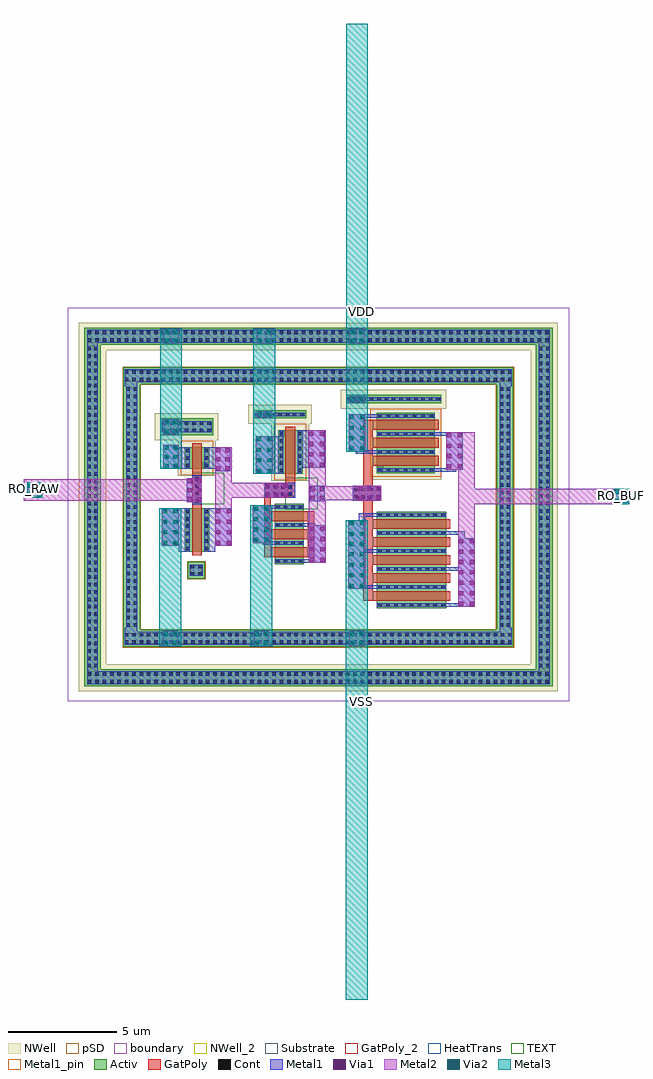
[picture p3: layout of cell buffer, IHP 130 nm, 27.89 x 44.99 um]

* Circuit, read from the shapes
.subckt buffer RO_BUF RO_RAW VDD VSS
XM1 n1 RO_RAW VSS VSS sg13_lv_nmos w=2u l=0.45u
XM2 VSS n1 n2 VSS sg13_lv_nmos w=1.33u l=0.45u m=3
XM3 VSS n2 RO_BUF VSS sg13_lv_nmos w=3.2u l=0.45u m=5
XM4 n1 RO_RAW VDD VDD sg13_lv_pmos w=1u l=0.45u
XM5 n2 n1 VDD VDD sg13_lv_pmos w=2u l=0.45u
XM6 VDD n2 RO_BUF VDD sg13_lv_pmos w=2.665u l=0.45u m=3
.ends

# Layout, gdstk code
from math import pi, radians
import gdstk
lib = gdstk.Library(unit=1e-6, precision=1e-09)
def R(c, l, rs):  # rectangles x0, y0, x1, y1
    for r in rs: c.add(gdstk.rectangle(r[:2], r[2:], *l))
def A(c, l, x, y, w, h, nx, ny, dx, dy):  # array of equal rectangles
    R(c, l, [(x+i*dx, y+j*dy, x+i*dx+w, y+j*dy+h) for i in range(nx) for j in range(ny)])
def P(c, l, *ps):  # polygons
    for p in ps: c.add(gdstk.Polygon(p, *l))
Activ = (1, 0)
GatPoly = (5, 0)
GatPoly_2 = (5, 2)
Cont = (6, 0)
Metal1 = (8, 0)
Metal1_pin = (8, 2)
Metal2 = (10, 0)
pSD = (14, 0)
Via1 = (19, 0)
Via2 = (29, 0)
Metal3 = (30, 0)
NWell = (31, 0)
NWell_2 = (31, 2)
Substrate = (40, 0)
HeatTrans = (51, 0)
TEXT = (63, 0)
boundary = (189, 4)

nmos_10 = lib.new_cell('nmos$10')
A(nmos_10, Activ, 0, 0, 0.3, 0.3, 4, 1, 0.83, 0)
R(nmos_10, Activ, [(0,0,2.79,1.33)])
A(nmos_10, GatPoly, 0.34, -0.18, 0.45, 1.69, 3, 1, 0.83, 0)
R(nmos_10, GatPoly_2, [(0.34,-0.18,0.79,1.51)])
A(nmos_10, Cont, 0.07, 0.07, 0.16, 0.16, 4, 2, 0.83, 0.34)
A(nmos_10, Cont, 0.07, 0.755, 0.16, 0.16, 4, 2, 0.83, 0.345)
A(nmos_10, Metal1, 0.07, 0, 0.16, 1.33, 4, 1, 0.83, 0)
R(nmos_10, Metal1_pin, [(0.07,0,0.23,1.33), (0.9,0,1.06,1.33)])
A(nmos_10, HeatTrans, 0.34, -0.18, 0.45, 1.69, 3, 1, 0.83, 0)
nmos_10.add(gdstk.Label('nmos', (0.565,0.665), layer=63, texttype=0))
nmos_10.add(gdstk.Label('nmos', (0.565,0.665), layer=51, texttype=0))
nmos_10.add(gdstk.Label('nmos', (1.395,0.665), layer=51, texttype=0))
nmos_10.add(gdstk.Label('nmos', (2.225,0.665), layer=51, texttype=0))

pmos_10 = lib.new_cell('pmos$10')
R(pmos_10, Activ, [(0,0,0.3,0.3), (0,0,1.13,2), (0.83,0,1.13,0.3)])
R(pmos_10, GatPoly, [(0.34,-0.18,0.79,2.18), (0.34,-0.18,0.79,2.18)])
A(pmos_10, Cont, 0.07, 0.07, 0.16, 0.16, 1, 6, 0, 0.34)
A(pmos_10, Cont, 0.9, 0.07, 0.16, 0.16, 1, 6, 0, 0.34)
R(pmos_10, Metal1, [(0.07,0,0.23,2), (0.07,0,0.23,2), (0.9,0,1.06,2), (0.9,0,1.06,2)])
R(pmos_10, pSD, [(-0.18,-0.3,1.31,2.3)])
R(pmos_10, NWell, [(-0.31,-0.31,1.44,2.31)])
R(pmos_10, Substrate, [(0.83,0,1.13,0.3)])
R(pmos_10, HeatTrans, [(0.34,-0.18,0.79,2.18)])
pmos_10.add(gdstk.Label('pmos', (0.565,1), layer=63, texttype=0))
pmos_10.add(gdstk.Label('pmos', (0.565,1), layer=51, texttype=0))

via_stack_17 = lib.new_cell('via_stack$17')
R(via_stack_17, Metal1, [(-0.385,-0.865,0.385,0.865)])
R(via_stack_17, Metal2, [(-0.385,-0.865,0.385,0.865)])
A(via_stack_17, Via1, -0.335, -0.815, 0.19, 0.19, 1, 4, 0, 0.48)
A(via_stack_17, Via1, 0.145, -0.815, 0.19, 0.19, 1, 4, 0, 0.48)

via_stack_20 = lib.new_cell('via_stack$20')
R(via_stack_20, Metal1, [(-0.385,-0.865,0.385,0.865)])
R(via_stack_20, Metal2, [(-0.385,-0.865,0.385,0.865)])
A(via_stack_20, Via1, -0.335, -0.815, 0.19, 0.19, 1, 4, 0, 0.48)
A(via_stack_20, Via1, 0.145, -0.815, 0.19, 0.19, 1, 4, 0, 0.48)
A(via_stack_20, Via2, -0.335, -0.815, 0.19, 0.19, 1, 4, 0, 0.48)
A(via_stack_20, Via2, 0.145, -0.815, 0.19, 0.19, 1, 4, 0, 0.48)
R(via_stack_20, Metal3, [(-0.385,-0.865,0.385,0.865)])

cont = lib.new_cell('cont')
R(cont, Cont, [(0,0,0.16,0.16)])

buf_2 = lib.new_cell('buf_2')
R(buf_2, GatPoly, [(0.115,0.34,0.415,2.45), (2.105,0.34,2.405,2.45), (0.115,2.45,0.415,3.09), (0.115,3.09,1.095,3.73), (1.095,3.09,1.535,4)])
R(buf_2, Metal1, [(-0.28,4.18,0.975,5.91), (1.645,4.45,2.9,6.18)])
P(buf_2, Metal1, [(0.05,0.9),(0.05,2.72),(0.595,2.72),(0.595,2.56),(0.35,2.56),(0.35,1.06),(0.595,1.06),(0.595,0.9)],
  [(1.925,0.07),(1.925,0.23),(2.17,0.23),(2.17,1.73),(1.925,1.73),(1.925,1.89),(2.47,1.89),(2.47,0.07)])
R(buf_2, Metal2, [(2.17,0.07,2.94,6.18)])
R(buf_2, TEXT, [(1.085,2.545,2.57,4)])
buf_2.add(gdstk.Reference(nmos_10, (0.595,2.79), rotation=3*pi/2))
buf_2.add(gdstk.Reference(pmos_10, (1.875,6.18), rotation=pi))
buf_2.add(gdstk.Reference(via_stack_17, (2.515,5.315), rotation=pi))
buf_2.add(gdstk.Reference(via_stack_17, (2.555,0.935), rotation=pi))
buf_2.add(gdstk.Reference(via_stack_20, (0.105,5.045), rotation=pi))
buf_2.add(gdstk.Reference(via_stack_20, (-0.035,1.855), rotation=pi))
r = gdstk.Reference(cont, (0.185,3.66), rotation=3*pi/2); r.repetition = gdstk.Repetition(2, 4, v1=(0,-0.34), v2=(0.34,0)); buf_2.add(r)

pmos_13 = lib.new_cell('pmos$13')
A(pmos_13, Activ, 0, 0, 0.3, 0.3, 4, 1, 0.83, 0)
R(pmos_13, Activ, [(0,0,2.79,2.665)])
A(pmos_13, GatPoly, 0.34, -0.18, 0.45, 3.025, 3, 1, 0.83, 0)
R(pmos_13, GatPoly, [(0.34,-0.18,0.79,2.845)])
A(pmos_13, Cont, 0.07, 0.07, 0.16, 0.16, 4, 2, 0.83, 0.39)
A(pmos_13, Cont, 0.07, 0.855, 0.16, 0.16, 4, 5, 0.83, 0.395)
A(pmos_13, Metal1, 0.9, 0, 0.16, 2.665, 3, 1, 0.83, 0)
R(pmos_13, Metal1, [(0.07,0,0.23,2.665), (0.07,0,0.23,2.665), (0.9,0,1.06,2.665)])
R(pmos_13, pSD, [(-0.18,-0.3,2.97,2.965)])
R(pmos_13, NWell, [(-0.31,-0.31,3.1,2.975)])
R(pmos_13, Substrate, [(2.49,0,2.79,0.3)])
A(pmos_13, HeatTrans, 0.34, -0.18, 0.45, 3.025, 3, 1, 0.83, 0)
pmos_13.add(gdstk.Label('pmos', (0.565,1.333), layer=63, texttype=0))
pmos_13.add(gdstk.Label('pmos', (0.565,1.333), layer=51, texttype=0))
pmos_13.add(gdstk.Label('pmos', (1.395,1.333), layer=51, texttype=0))
pmos_13.add(gdstk.Label('pmos', (2.225,1.333), layer=51, texttype=0))

nmos_9 = lib.new_cell('nmos$9')
A(nmos_9, Activ, 0, 0, 0.3, 0.3, 6, 1, 0.83, 0)
R(nmos_9, Activ, [(0,0,4.45,3.2)])
A(nmos_9, GatPoly, 0.34, -0.18, 0.45, 3.56, 5, 1, 0.83, 0)
R(nmos_9, GatPoly_2, [(0.34,-0.18,0.79,3.38)])
A(nmos_9, Cont, 0.07, 0.07, 0.16, 0.16, 6, 2, 0.83, 0.36)
A(nmos_9, Cont, 0.07, 0.795, 0.16, 0.16, 6, 2, 0.83, 0.36)
A(nmos_9, Cont, 0.07, 1.52, 0.16, 0.16, 6, 2, 0.83, 0.36)
A(nmos_9, Cont, 0.07, 2.245, 0.16, 0.16, 6, 2, 0.83, 0.36)
A(nmos_9, Cont, 0.07, 2.97, 0.16, 0.16, 6, 1, 0.83, 0)
A(nmos_9, Metal1, 0.07, 0, 0.16, 3.2, 6, 1, 0.83, 0)
R(nmos_9, Metal1_pin, [(0.07,0,0.23,3.2), (0.9,0,1.06,3.2)])
A(nmos_9, HeatTrans, 0.34, -0.18, 0.45, 3.56, 5, 1, 0.83, 0)
nmos_9.add(gdstk.Label('nmos', (0.565,1.6), layer=63, texttype=0))
nmos_9.add(gdstk.Label('nmos', (0.565,1.6), layer=51, texttype=0))
nmos_9.add(gdstk.Label('nmos', (1.395,1.6), layer=51, texttype=0))
nmos_9.add(gdstk.Label('nmos', (2.225,1.6), layer=51, texttype=0))
nmos_9.add(gdstk.Label('nmos', (3.055,1.6), layer=51, texttype=0))
nmos_9.add(gdstk.Label('nmos', (3.885,1.6), layer=51, texttype=0))

via_stack_21 = lib.new_cell('via_stack$21')
R(via_stack_21, Metal1, [(-0.385,-1.585,0.385,1.585)])
R(via_stack_21, Metal2, [(-0.385,-1.585,0.385,1.585)])
A(via_stack_21, Via1, -0.335, -1.535, 0.19, 0.19, 1, 7, 0, 0.48)
A(via_stack_21, Via1, 0.145, -1.535, 0.19, 0.19, 1, 7, 0, 0.48)
A(via_stack_21, Via2, -0.335, -1.535, 0.19, 0.19, 1, 7, 0, 0.48)
A(via_stack_21, Via2, 0.145, -1.535, 0.19, 0.19, 1, 7, 0, 0.48)
R(via_stack_21, Metal3, [(-0.385,-1.585,0.385,1.585)])

via_stack_18 = lib.new_cell('via_stack$18')
R(via_stack_18, Metal1, [(-0.385,-1.585,0.385,1.585)])
R(via_stack_18, Metal2, [(-0.385,-1.585,0.385,1.585)])
A(via_stack_18, Via1, -0.335, -1.535, 0.19, 0.19, 1, 7, 0, 0.48)
A(via_stack_18, Via1, 0.145, -1.535, 0.19, 0.19, 1, 7, 0, 0.48)

buf_3 = lib.new_cell('buf_3')
R(buf_3, GatPoly, [(0.46,0.365,0.91,8.71), (-0.02,5.005,1.3,5.645)])
R(buf_3, Metal1, [(3.755,6.33,4.29,6.49), (4.29,6.33,4.745,8.15), (0.105,7.16,0.555,8.98), (0.555,7.16,1.09,7.32), (3.755,7.99,4.29,8.15), (0.555,8.82,1.09,8.98)])
P(buf_3, Metal1, [(4.29,0.095),(4.29,0.255),(4.835,0.255),(4.835,1.755),(4.29,1.755),(4.29,1.915),(4.835,1.915),(4.835,3.415),(4.29,3.415),(4.29,3.575),(5.135,3.575),(5.135,0.095)],
  [(0.245,0.925),(0.245,4.405),(1.09,4.405),(1.09,4.245),(0.545,4.245),(0.545,2.745),(1.09,2.745),(1.09,2.585),(0.545,2.585),(0.545,1.085),(1.09,1.085),(1.09,0.925)],
  [(4.29,0.095),(4.29,0.255),(4.835,0.255),(4.835,1.755),(4.29,1.755),(4.29,1.915),(4.835,1.915),(4.835,3.415),(4.29,3.415),(4.29,3.575),(5.135,3.575),(5.135,0.095)])
R(buf_3, Metal2, [(4.835,0.095,5.605,8.15)])
buf_3.add(gdstk.Reference(pmos_13, (1.09,9.05), rotation=3*pi/2))
buf_3.add(gdstk.Reference(nmos_9, (1.09,4.475), rotation=3*pi/2))
buf_3.add(gdstk.Reference(via_stack_21, (0.16,2.51), rotation=pi))
buf_3.add(gdstk.Reference(via_stack_18, (5.22,1.68), rotation=pi))
buf_3.add(gdstk.Reference(via_stack_17, (4.675,7.285), rotation=pi))
buf_3.add(gdstk.Reference(via_stack_20, (0.17,8.115), rotation=pi))
r = gdstk.Reference(cont, (1.23,5.575), rotation=pi); r.repetition = gdstk.Repetition(4, 2, v1=(-0.34,0), v2=(0,-0.34)); buf_3.add(r)

via_stack_10 = lib.new_cell('via_stack$10')
R(via_stack_10, Metal1, [(-0.35,-0.555,0.35,0.555)])
R(via_stack_10, Metal2, [(-0.35,-0.555,0.35,0.555)])
A(via_stack_10, Via1, -0.3, -0.505, 0.19, 0.19, 1, 3, 0, 0.41)
A(via_stack_10, Via1, 0.11, -0.505, 0.19, 0.19, 1, 3, 0, 0.41)

pmos_11 = lib.new_cell('pmos$11')
R(pmos_11, Activ, [(0,0,0.3,0.3), (0,0,1.13,1), (0.83,0,1.13,0.3)])
R(pmos_11, GatPoly, [(0.34,-0.18,0.79,1.18), (0.34,-0.18,0.79,1.18)])
A(pmos_11, Cont, 0.07, 0.07, 0.16, 0.16, 1, 3, 0, 0.35)
A(pmos_11, Cont, 0.9, 0.07, 0.16, 0.16, 1, 3, 0, 0.35)
R(pmos_11, Metal1, [(0.07,0,0.23,1), (0.07,0,0.23,1), (0.9,0,1.06,1), (0.9,0,1.06,1)])
R(pmos_11, pSD, [(-0.18,-0.3,1.31,1.3)])
R(pmos_11, NWell, [(-0.31,-0.31,1.44,1.31)])
R(pmos_11, Substrate, [(0.83,0,1.13,0.3)])
R(pmos_11, HeatTrans, [(0.34,-0.18,0.79,1.18)])
pmos_11.add(gdstk.Label('pmos', (0.565,0.5), layer=63, texttype=0))
pmos_11.add(gdstk.Label('pmos', (0.565,0.5), layer=51, texttype=0))

nmos_4 = lib.new_cell('nmos$4')
R(nmos_4, Activ, [(0,0,0.3,0.3), (0,0,1.13,2), (0.83,0,1.13,0.3)])
R(nmos_4, GatPoly, [(0.34,-0.18,0.79,2.18)])
R(nmos_4, GatPoly_2, [(0.34,-0.18,0.79,2.18)])
A(nmos_4, Cont, 0.07, 0.07, 0.16, 0.16, 1, 6, 0, 0.34)
A(nmos_4, Cont, 0.9, 0.07, 0.16, 0.16, 1, 6, 0, 0.34)
R(nmos_4, Metal1, [(0.07,0,0.23,2), (0.9,0,1.06,2)])
R(nmos_4, Metal1_pin, [(0.07,0,0.23,2), (0.9,0,1.06,2)])
R(nmos_4, HeatTrans, [(0.34,-0.18,0.79,2.18)])
nmos_4.add(gdstk.Label('nmos', (0.565,1), layer=63, texttype=0))
nmos_4.add(gdstk.Label('nmos', (0.565,1), layer=51, texttype=0))

via_stack_19 = lib.new_cell('via_stack$19')
R(via_stack_19, Metal1, [(-0.35,-0.555,0.35,0.555)])
R(via_stack_19, Metal2, [(-0.35,-0.555,0.35,0.555)])
A(via_stack_19, Via1, -0.3, -0.505, 0.19, 0.19, 1, 3, 0, 0.41)
A(via_stack_19, Via1, 0.11, -0.505, 0.19, 0.19, 1, 3, 0, 0.41)
A(via_stack_19, Via2, -0.3, -0.505, 0.19, 0.19, 1, 3, 0, 0.41)
A(via_stack_19, Via2, 0.11, -0.505, 0.19, 0.19, 1, 3, 0, 0.41)
R(via_stack_19, Metal3, [(-0.35,-0.555,0.35,0.555)])

buf_1 = lib.new_cell('buf_1')
R(buf_1, GatPoly, [(0.965,1.31,1.415,2.765)])
R(buf_1, Metal1, [(0.345,-0.87,0.695,1.13), (1.685,-0.87,2.035,1.13), (0.965,1.31,1.415,2.645), (0.345,2.945,0.695,3.945), (1.685,2.945,2.035,3.945)])
R(buf_1, Metal2, [(2.035,1.13,2.805,3.945)])
buf_1.add(gdstk.Reference(pmos_11, (0.625,2.945)))
buf_1.add(gdstk.Reference(nmos_4, (0.625,-0.87)))
r = gdstk.Reference(cont, (1.11,2.565), rotation=3*pi/2); r.repetition = gdstk.Repetition(4, 1, v1=(0,-0.34), v2=(0,0)); buf_1.add(r)
buf_1.add(gdstk.Reference(via_stack_10, (2.385,3.39), rotation=pi))
buf_1.add(gdstk.Reference(via_stack_19, (-0.005,3.5), rotation=pi))
buf_1.add(gdstk.Reference(via_stack_17, (2.42,0.265), rotation=pi))
buf_1.add(gdstk.Reference(via_stack_20, (-0.04,0.265), rotation=pi))

via_stack_16 = lib.new_cell('via_stack$16')
R(via_stack_16, Metal1, [(-0.555,-0.35,0.555,0.35)])
R(via_stack_16, Metal2, [(-0.555,-0.35,0.555,0.35)])
A(via_stack_16, Via1, -0.505, -0.3, 0.19, 0.19, 3, 2, 0.41, 0.41)

via_stack = lib.new_cell('via_stack')
R(via_stack, Metal1, [(-0.35,-0.35,0.35,0.35)])
R(via_stack, Metal2, [(-0.35,-0.35,0.35,0.35)])
R(via_stack, Via1, [(-0.3,-0.3,-0.11,-0.11), (0.11,-0.3,0.3,-0.11), (-0.3,0.11,-0.11,0.3), (0.11,0.11,0.3,0.3)])

ptap1_17 = lib.new_cell('ptap1$17')
R(ptap1_17, Activ, [(0,0,17.985,0.78)])
A(ptap1_17, Cont, 0.07, 0.14, 0.16, 0.16, 53, 2, 0.34, 0.34)
R(ptap1_17, Metal1, [(0.07,0.09,17.91,0.69), (0.07,0.14,17.91,0.64)])
R(ptap1_17, Metal1_pin, [(0.07,0.14,17.91,0.64)])
R(ptap1_17, pSD, [(-0.03,-0.03,18.015,0.81)])
R(ptap1_17, Substrate, [(0,0,17.985,0.78)])
ptap1_17.add(gdstk.Label('sub!', (8.993,0.01), layer=63, texttype=0))
ptap1_17.add(gdstk.Label('sub!', (8.993,0.01), layer=40, texttype=0))

ptap1_18 = lib.new_cell('ptap1$18')
R(ptap1_18, Activ, [(0,0,0.78,11.335)])
A(ptap1_18, Cont, 0.14, 0.145, 0.16, 0.16, 1, 33, 0, 0.34)
A(ptap1_18, Cont, 0.48, 0.145, 0.16, 0.16, 1, 33, 0, 0.34)
R(ptap1_18, Metal1, [(0.14,0.095,0.64,11.235), (0.14,0.145,0.64,11.185)])
R(ptap1_18, Metal1_pin, [(0.14,0.145,0.64,11.185)])
R(ptap1_18, pSD, [(-0.03,-0.03,0.81,11.365)])
R(ptap1_18, Substrate, [(0,0,0.78,11.335)])
ptap1_18.add(gdstk.Label('sub!', (0.39,0.01), layer=63, texttype=0))
ptap1_18.add(gdstk.Label('sub!', (0.39,0.01), layer=40, texttype=0))

buf_ptap_guard_ring = lib.new_cell('buf_ptap_guard_ring')
buf_ptap_guard_ring.add(gdstk.Reference(ptap1_17, (0,0)))
buf_ptap_guard_ring.add(gdstk.Reference(ptap1_17, (0,12.115)))
buf_ptap_guard_ring.add(gdstk.Reference(ptap1_18, (0,0.78)))
buf_ptap_guard_ring.add(gdstk.Reference(ptap1_18, (17.205,0.78)))

ntap1_21 = lib.new_cell('ntap1$21')
R(ntap1_21, Activ, [(0,0,21.605,0.78)])
A(ntap1_21, Cont, 0.18, 0.14, 0.16, 0.16, 63, 2, 0.34, 0.34)
R(ntap1_21, Metal1, [(0.18,0.09,21.42,0.69)])
R(ntap1_21, Metal1_pin, [(0.18,0.09,21.42,0.69), (0.18,0.14,21.42,0.64)])
R(ntap1_21, NWell, [(-0.24,-0.24,21.845,1.02), (0,0,21.605,0.78)])
R(ntap1_21, NWell_2, [(0,0,21.605,0.78)])
ntap1_21.add(gdstk.Label('well', (10.803,0.01), layer=63, texttype=0))
ntap1_21.add(gdstk.Label('well', (10.803,0.01), layer=31, texttype=0))

ntap1_22 = lib.new_cell('ntap1$22')
R(ntap1_22, Activ, [(0,0,0.78,14.955)])
A(ntap1_22, Cont, 0.14, 0.085, 0.16, 0.16, 1, 44, 0, 0.34)
A(ntap1_22, Cont, 0.48, 0.085, 0.16, 0.16, 1, 44, 0, 0.34)
R(ntap1_22, Metal1, [(0.14,0.035,0.64,14.915)])
R(ntap1_22, Metal1_pin, [(0.14,0.035,0.64,14.915), (0.14,0.085,0.64,14.865)])
R(ntap1_22, NWell, [(-0.24,-0.24,1.02,15.195), (0,0,0.78,14.955)])
R(ntap1_22, NWell_2, [(0,0,0.78,14.955)])
ntap1_22.add(gdstk.Label('well', (0.39,0.01), layer=63, texttype=0))
ntap1_22.add(gdstk.Label('well', (0.39,0.01), layer=31, texttype=0))

buf_ntap_guard_ring = lib.new_cell('buf_ntap_guard_ring')
buf_ntap_guard_ring.add(gdstk.Reference(ntap1_21, (0,0)))
buf_ntap_guard_ring.add(gdstk.Reference(ntap1_21, (0,15.735)))
buf_ntap_guard_ring.add(gdstk.Reference(ntap1_22, (0,0.78)))
buf_ntap_guard_ring.add(gdstk.Reference(ntap1_22, (20.825,0.78)))

via_stack_6_2 = lib.new_cell('via_stack$6$2')
R(via_stack_6_2, Metal2, [(-0.35,-0.35,0.35,0.35)])
R(via_stack_6_2, Via2, [(-0.3,-0.3,-0.11,-0.11), (0.11,-0.3,0.3,-0.11), (-0.3,0.11,-0.11,0.3), (0.11,0.11,0.3,0.3)])
R(via_stack_6_2, Metal3, [(-0.35,-0.35,0.35,0.35)])

via_stack_5_1 = lib.new_cell('via_stack$5$1')
R(via_stack_5_1, Metal1, [(-0.35,-0.35,0.35,0.35)])
R(via_stack_5_1, Metal2, [(-0.35,-0.35,0.35,0.35)])
R(via_stack_5_1, Via1, [(-0.3,-0.3,-0.11,-0.11), (0.11,-0.3,0.3,-0.11), (-0.3,0.11,-0.11,0.3), (0.11,0.11,0.3,0.3)])
R(via_stack_5_1, Via2, [(-0.3,-0.3,-0.11,-0.11), (0.11,-0.3,0.3,-0.11), (-0.3,0.11,-0.11,0.3), (0.11,0.11,0.3,0.3)])
R(via_stack_5_1, Metal3, [(-0.35,-0.35,0.35,0.35)])

ntap1_27 = lib.new_cell('ntap1$27')
R(ntap1_27, Activ, [(0,0,0.78,2.44)])
A(ntap1_27, Cont, 0.14, 0.12, 0.16, 0.16, 1, 7, 0, 0.34)
A(ntap1_27, Cont, 0.48, 0.12, 0.16, 0.16, 1, 7, 0, 0.34)
R(ntap1_27, Metal1, [(0.14,0.07,0.64,2.37)])
R(ntap1_27, Metal1_pin, [(0.14,0.07,0.64,2.37), (0.14,0.12,0.64,2.32)])
R(ntap1_27, NWell, [(-0.24,-0.24,1.02,2.68), (0,0,0.78,2.44)])
R(ntap1_27, NWell_2, [(0,0,0.78,2.44)])
ntap1_27.add(gdstk.Label('well', (0.39,0.01), layer=63, texttype=0))
ntap1_27.add(gdstk.Label('well', (0.39,0.01), layer=31, texttype=0))

ptap1_21 = lib.new_cell('ptap1$21')
R(ptap1_21, Activ, [(0,0,0.78,0.78)])
R(ptap1_21, Cont, [(0.14,0.14,0.3,0.3), (0.48,0.14,0.64,0.3), (0.14,0.48,0.3,0.64), (0.48,0.48,0.64,0.64)])
R(ptap1_21, Metal1, [(0.14,0.09,0.64,0.69), (0.14,0.14,0.64,0.64)])
R(ptap1_21, Metal1_pin, [(0.14,0.14,0.64,0.64)])
R(ptap1_21, pSD, [(-0.03,-0.03,0.81,0.81)])
R(ptap1_21, Substrate, [(0,0,0.78,0.78)])
ptap1_21.add(gdstk.Label('sub!', (0.39,0.01), layer=63, texttype=0))
ptap1_21.add(gdstk.Label('sub!', (0.39,0.01), layer=40, texttype=0))

ntap1_29 = lib.new_cell('ntap1$29')
R(ntap1_29, Activ, [(0,0,0.39,2.45)])
A(ntap1_29, Cont, 0.115, 0.125, 0.16, 0.16, 1, 7, 0, 0.34)
R(ntap1_29, Metal1, [(0.115,0.075,0.275,2.375)])
R(ntap1_29, Metal1_pin, [(0.115,0.075,0.275,2.375), (0.115,0.125,0.275,2.325)])
R(ntap1_29, NWell, [(-0.24,-0.24,0.63,2.69), (0,0,0.39,2.45)])
R(ntap1_29, NWell_2, [(0,0,0.39,2.45)])
ntap1_29.add(gdstk.Label('well', (0.195,0.01), layer=63, texttype=0))
ntap1_29.add(gdstk.Label('well', (0.195,0.01), layer=31, texttype=0))

ntap1_30 = lib.new_cell('ntap1$30')
R(ntap1_30, Activ, [(0,0,0.39,4.385)])
A(ntap1_30, Cont, 0.115, 0.07, 0.16, 0.16, 1, 13, 0, 0.34)
R(ntap1_30, Metal1, [(0.115,0.02,0.275,4.36)])
R(ntap1_30, Metal1_pin, [(0.115,0.02,0.275,4.36), (0.115,0.07,0.275,4.31)])
R(ntap1_30, NWell, [(-0.24,-0.24,0.63,4.625), (0,0,0.39,4.385)])
R(ntap1_30, NWell_2, [(0,0,0.39,4.385)])
ntap1_30.add(gdstk.Label('well', (0.195,0.01), layer=63, texttype=0))
ntap1_30.add(gdstk.Label('well', (0.195,0.01), layer=31, texttype=0))

via_stack_38 = lib.new_cell('via_stack$38')
R(via_stack_38, Metal1, [(-0.145,-0.35,0.145,0.35)])
R(via_stack_38, Metal2, [(-0.145,-0.35,0.145,0.35)])
R(via_stack_38, Via1, [(-0.095,-0.3,0.095,-0.11), (-0.095,0.11,0.095,0.3)])
R(via_stack_38, Via2, [(-0.095,-0.3,0.095,-0.11), (-0.095,0.11,0.095,0.3)])
R(via_stack_38, Metal3, [(-0.145,-0.35,0.145,0.35)])

buffer = lib.new_cell('buffer')
R(buffer, Metal1, [(-7.3,-8.315,-6.8,-7.59), (13.525,-8.315,14.025,-7.59), (-5.56,-6.505,-4.99,-5.72), (11.715,-6.505,12.28,-5.72), (4.95,0.135,5.16,0.835), (1.985,0.27,2.295,0.97), (-5.56,5.42,-4.99,6.21), (11.715,5.42,12.28,6.21), (-7.3,7.29,-6.8,8.02), (13.525,7.29,14.025,8.02)])
R(buffer, Metal2, [(2.93,0.165,6.27,0.805), (-1.39,0.27,1.985,0.97)])
R(buffer, TEXT, [(-2.46,-0.02,-0.975,1.435)])
R(buffer, boundary, [(-8.18,-9.095,14.92,9.035)])
buffer.add(gdstk.FlexPath([(-2.51,0.635),(-9.71,0.635)], 1, ends="extended", simple_path=True, layer=10, datatype=0))  # Metal2
buffer.add(gdstk.FlexPath([(17.335,0.34),(10.155,0.34)], 0.7, ends="extended", simple_path=True, layer=10, datatype=0))  # Metal2
buffer.add(gdstk.FlexPath([(0.725,-0.075),(0.725,-6.555)], 1, ends="flush", simple_path=True, layer=30, datatype=0))  # Metal3
buffer.add(gdstk.FlexPath([(-3.465,-0.2),(-3.465,-6.555)], 1, ends="flush", simple_path=True, layer=30, datatype=0))  # Metal3
buffer.add(gdstk.FlexPath([(5.14,2.41),(5.14,22.145)], 1, ends="flush", simple_path=True, layer=30, datatype=0))  # Metal3
buffer.add(gdstk.FlexPath([(5.13,-0.745),(5.13,-22.85)], 1, ends="flush", simple_path=True, layer=30, datatype=0))  # Metal3
buffer.add(gdstk.FlexPath([(-3.43,1.615),(-3.43,8.07)], 1, ends="flush", simple_path=True, layer=30, datatype=0))  # Metal3
buffer.add(gdstk.FlexPath([(0.865,1.385),(0.865,8.07)], 1, ends="flush", simple_path=True, layer=30, datatype=0))  # Metal3
buffer.add(gdstk.Reference(buf_2, (0.76,-2.795)))
buffer.add(gdstk.Reference(buf_3, (4.97,-4.84)))
buffer.add(gdstk.Reference(via_stack_10, (-2.36,0.635), rotation=pi))
buffer.add(gdstk.Reference(buf_1, (-3.425,-1.33)))
buffer.add(gdstk.Reference(via_stack_16, (5.715,0.485), rotation=pi))
buffer.add(gdstk.Reference(via_stack, (3.315,0.48), rotation=pi))
buffer.add(gdstk.Reference(via_stack_16, (1.43,0.62), rotation=pi))
buffer.add(gdstk.Reference(buf_ptap_guard_ring, (-5.63,-6.595)))
buffer.add(gdstk.Reference(buf_ntap_guard_ring, (-7.44,-8.405)))
buffer.add(gdstk.Reference(via_stack_6_2, (-9.71,0.635), rotation=pi))
buffer.add(gdstk.Reference(via_stack_5_1, (5.13,-6.205), rotation=pi))
buffer.add(gdstk.Reference(via_stack_5_1, (0.725,-6.205), rotation=pi))
buffer.add(gdstk.Reference(via_stack_5_1, (-3.465,-6.205), rotation=pi))
buffer.add(gdstk.Reference(via_stack_5_1, (-3.43,7.72), rotation=pi))
buffer.add(gdstk.Reference(via_stack_5_1, (0.865,7.72), rotation=pi))
buffer.add(gdstk.Reference(via_stack_5_1, (5.14,7.72), rotation=pi))
buffer.add(gdstk.Reference(via_stack_6_2, (17.335,0.34), rotation=pi))
buffer.add(gdstk.Reference(ntap1_27, (-1.49,3.165), rotation=pi/2))
buffer.add(gdstk.Reference(ptap1_21, (-1.87,-3.455), rotation=pi/2))
buffer.add(gdstk.Reference(ntap1_29, (2.815,3.935), rotation=pi/2))
buffer.add(gdstk.Reference(ntap1_30, (9.025,4.63), rotation=pi/2))
buffer.add(gdstk.Reference(via_stack_5_1, (-3.43,3.555), rotation=pi))
buffer.add(gdstk.Reference(via_stack_38, (0.865,4.13), rotation=pi/2))
buffer.add(gdstk.Reference(via_stack_38, (5.14,4.825), rotation=pi/2))
buffer.add(gdstk.Label('RO_BUF', (17.34,0.365), layer=30, texttype=25))
buffer.add(gdstk.Label('RO_RAW', (-9.74,0.695), layer=30, texttype=25))
buffer.add(gdstk.Label('VDD', (5.33,8.845), layer=30, texttype=25))
buffer.add(gdstk.Label('VSS', (5.345,-9.13), layer=30, texttype=25))

lib.write_gds('buffer.gds')
